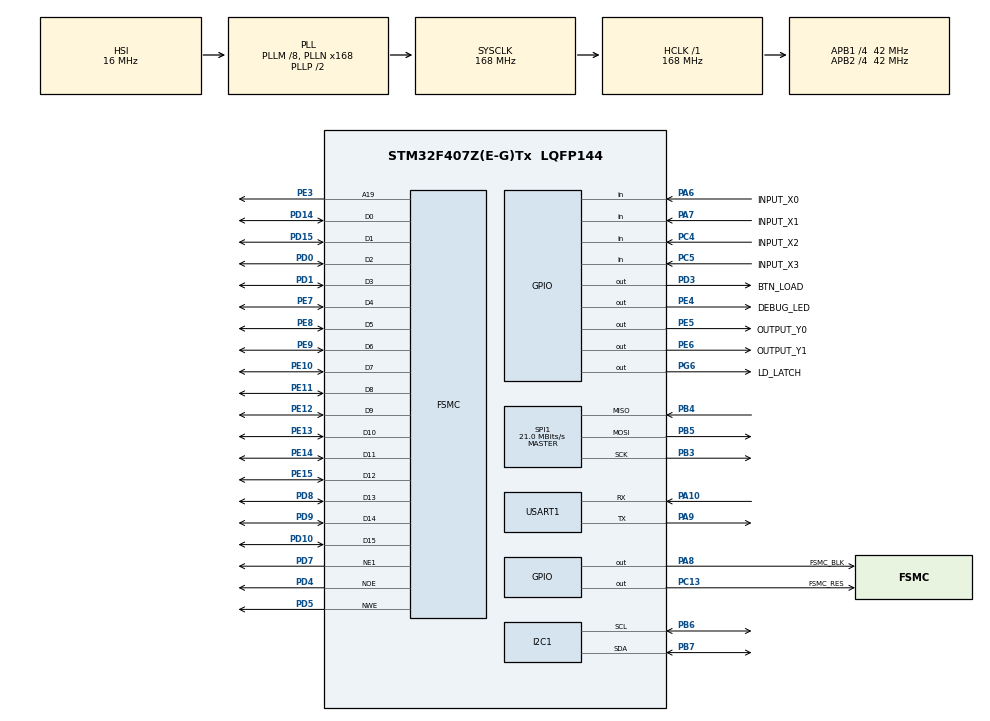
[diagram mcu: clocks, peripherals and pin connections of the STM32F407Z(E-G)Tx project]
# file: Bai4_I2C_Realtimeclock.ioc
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FSMC.AddressSetupTime1=0xf
FSMC.BusTurnAroundDuration1=0
FSMC.DataSetupTime1=60
FSMC.ExtendedAddressSetupTime1=8
FSMC.ExtendedBusTurnAroundDuration1=0
FSMC.ExtendedDataSetupTime1=9
FSMC.ExtendedMode1=FSMC_EXTENDED_MODE_ENABLE
I2C1.I2C_Mode=I2C_Standard
Mcu.Family=STM32F4
Mcu.Name=STM32F407Z(E-G)Tx
Mcu.Package=LQFP144
NVIC.PriorityGroup=NVIC_PRIORITYGROUP_4
NVIC.TIM2_IRQn=true\:0\:0\:false\:false\:true\:true\:true\:true
NVIC.USART1_IRQn=true\:0\:0\:false\:false\:true\:true\:true\:true
PA10.Mode=Asynchronous
PA10.Signal=USART1_RX
PA13.Mode=Serial_Wire
PA13.Signal=SYS_JTMS-SWDIO
PA14.Mode=Serial_Wire
PA14.Signal=SYS_JTCK-SWCLK
PA6.GPIO_Label=INPUT_X0
PA6.Signal=GPIO_Input
PA7.GPIO_Label=INPUT_X1
PA7.Signal=GPIO_Input
PA8.GPIO_Label=FSMC_BLK
PA8.Signal=GPIO_Output
PA9.Mode=Asynchronous
PA9.Signal=USART1_TX
PB3.Mode=Full_Duplex_Master
PB3.Signal=SPI1_SCK
PB4.Mode=Full_Duplex_Master
PB4.Signal=SPI1_MISO
PB5.Mode=Full_Duplex_Master
PB5.Signal=SPI1_MOSI
PB6.Mode=I2C
PB6.Signal=I2C1_SCL
PB7.Mode=I2C
PB7.Signal=I2C1_SDA
PC13-ANTI_TAMP.GPIO_Label=FSMC_RES
PC13-ANTI_TAMP.Signal=GPIO_Output
PC4.GPIO_Label=INPUT_X2
PC4.Signal=GPIO_Input
PC5.GPIO_Label=INPUT_X3
PC5.Signal=GPIO_Input
PD0.Signal=FSMC_D2_DA2
PD1.Signal=FSMC_D3_DA3
PD10.Signal=FSMC_D15_DA15
PD14.Signal=FSMC_D0_DA0
PD15.Signal=FSMC_D1_DA1
PD3.GPIO_Label=BTN_LOAD
PD3.Signal=GPIO_Output
PD4.Signal=FSMC_NOE
PD5.Signal=FSMC_NWE
PD7.Mode=NorPsramChipSelect1_1
PD7.Signal=FSMC_NE1
PD8.Signal=FSMC_D13_DA13
PD9.Signal=FSMC_D14_DA14
PE10.Signal=FSMC_D7_DA7
PE11.Signal=FSMC_D8_DA8
PE12.Signal=FSMC_D9_DA9
PE13.Signal=FSMC_D10_DA10
PE14.Signal=FSMC_D11_DA11
PE15.Signal=FSMC_D12_DA12
PE3.Signal=FSMC_A19
PE4.GPIO_Label=DEBUG_LED
PE4.Signal=GPIO_Output
PE5.GPIO_Label=OUTPUT_Y0
PE5.Signal=GPIO_Output
PE6.GPIO_Label=OUTPUT_Y1
PE6.Signal=GPIO_Output
PE7.Signal=FSMC_D4_DA4
PE8.Signal=FSMC_D5_DA5
PE9.Signal=FSMC_D6_DA6
PG6.GPIO_Label=LD_LATCH
PG6.Signal=GPIO_Output
PH0-OSC_IN.Mode=HSE-External-Oscillator
PH0-OSC_IN.Signal=RCC_OSC_IN
PH1-OSC_OUT.Mode=HSE-External-Oscillator
PH1-OSC_OUT.Signal=RCC_OSC_OUT
ProjectManager.HeapSize=0x200
ProjectManager.StackSize=0x400
ProjectManager.TargetToolchain=STM32CubeIDE
RCC.48MHZClocksFreq_Value=84000000
RCC.AHBFreq_Value=168000000
RCC.APB1CLKDivider=RCC_HCLK_DIV4
RCC.APB1Freq_Value=42000000
RCC.APB1TimFreq_Value=84000000
RCC.APB2CLKDivider=RCC_HCLK_DIV4
RCC.APB2Freq_Value=42000000
RCC.APB2TimFreq_Value=84000000
RCC.CortexFreq_Value=168000000
RCC.HCLKFreq_Value=168000000
RCC.HSE_VALUE=8000000
RCC.HSI_VALUE=16000000
RCC.LSE_VALUE=32768
RCC.PLLM=8
RCC.PLLN=168
RCC.SYSCLKFreq_VALUE=168000000
RCC.SYSCLKSource=RCC_SYSCLKSOURCE_PLLCLK
RCC.VCOOutputFreq_Value=336000000
SH.FSMC_A19.0=FSMC_A19,A19_1
SH.FSMC_D0_DA0.0=FSMC_D0,16b-d1
SH.FSMC_D10_DA10.0=FSMC_D10,16b-d1
SH.FSMC_D11_DA11.0=FSMC_D11,16b-d1
SH.FSMC_D12_DA12.0=FSMC_D12,16b-d1
SH.FSMC_D13_DA13.0=FSMC_D13,16b-d1
SH.FSMC_D14_DA14.0=FSMC_D14,16b-d1
SH.FSMC_D15_DA15.0=FSMC_D15,16b-d1
SH.FSMC_D1_DA1.0=FSMC_D1,16b-d1
SH.FSMC_D2_DA2.0=FSMC_D2,16b-d1
SH.FSMC_D3_DA3.0=FSMC_D3,16b-d1
SH.FSMC_D4_DA4.0=FSMC_D4,16b-d1
SH.FSMC_D5_DA5.0=FSMC_D5,16b-d1
SH.FSMC_D6_DA6.0=FSMC_D6,16b-d1
SH.FSMC_D7_DA7.0=FSMC_D7,16b-d1
SH.FSMC_D8_DA8.0=FSMC_D8,16b-d1
SH.FSMC_D9_DA9.0=FSMC_D9,16b-d1
SH.FSMC_NOE.0=FSMC_NOE,Lcd1
SH.FSMC_NWE.0=FSMC_NWE,Lcd1
SPI1.BaudRatePrescaler=SPI_BAUDRATEPRESCALER_2
SPI1.CalculateBaudRate=21.0 MBits/s
SPI1.Direction=SPI_DIRECTION_2LINES
SPI1.Mode=SPI_MODE_MASTER
SPI1.VirtualType=VM_MASTER
TIM2.Period=100-1
TIM2.Prescaler=840-1
USART1.VirtualMode=VM_ASYNC
VP_TIM2_VS_ClockSourceINT.Mode=Internal
board=custom

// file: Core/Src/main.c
/* USER CODE BEGIN Header */
/**
  ******************************************************************************
  * @file           : main.c
  * @brief          : Main program body
  ******************************************************************************
  * @attention
  *
  * <h2><center>&copy; Copyright (c) 2023 STMicroelectronics.
  * All rights reserved.</center></h2>
  *
  * This software component is licensed by ST under BSD 3-Clause license,
  * the "License"; You may not use this file except in compliance with the
  * License. You may obtain a copy of the License at:
  *                        opensource.org/licenses/BSD-3-Clause
  *
  ******************************************************************************
  */
/* USER CODE END Header */
#include "main.h"
#include "i2c.h"
#include "spi.h"
#include "tim.h"
//--c5--//
#include "usart.h"
#include "uart.h"
//--c5--//
#include "gpio.h"
#include "fsmc.h"

/* USER CODE BEGIN Includes */
#include "software_timer.h"
#include "led_7seg.h"
#include "button.h"
#include "lcd.h"
#include "picture.h"
#include "ds3231.h"
#include "fsm_clock.h"
/* USER CODE END Includes */

/* USER CODE BEGIN PV */
uint8_t count_led_debug = 0;
/* USER CODE END PV */

void SystemClock_Config(void);
/* USER CODE BEGIN PFP */
void system_init();
void test_LedDebug();
void displayTime();
void updateTime();
////-------c5-b1-------/
//void test_Uart () ;
////-------c5-b1-------//
/* USER CODE END PFP */

int main(void)
{

  /* MCU Configuration--------------------------------------------------------*/

  /* Reset of all peripherals, Initializes the Flash interface and the Systick. */
  HAL_Init();

  /* Configure the system clock */
  SystemClock_Config();

  /* Initialize all configured peripherals */
  MX_GPIO_Init();
  MX_TIM2_Init();
  MX_SPI1_Init();
  MX_FSMC_Init();
  MX_I2C1_Init();
  MX_USART1_UART_Init();
  /* USER CODE BEGIN 2 */
  system_init();
  /* USER CODE END 2 */

  /* Infinite loop */
  /* USER CODE BEGIN WHILE */
 lcd_Clear(BLACK);
 updateTime();
//extern ClockMode clock_mode;
  while (1)
  {
	  while(!flag_timer2);
	  flag_timer2 = 0;

	  button_Scan();
//	  ds3231_ReadTime();
//	  displayTime();

  //-------c5-b1-------//
//	  test_Uart () ;
	  process_uart_data();
  //-------c5-b1-------//

	  // bài 2 ,3
	  fsm_clock_run();
	  check_alarm();

////--------C5-bai3-------//
//// Cập nhật bộ đếm timeout
//	  if (clock_mode == MODE_UART_SET && uart_set_state > UART_SET_IDLE && uart_set_state < UART_SET_SAVING)
//	  {
//		  uart_timeout_counter++;
//	  }
////--------C5-bai3-------//

    /* USER CODE END WHILE */

  }
}

void SystemClock_Config(void)
{
  RCC_OscInitTypeDef RCC_OscInitStruct = {0};
  RCC_ClkInitTypeDef RCC_ClkInitStruct = {0};

  /** Configure the main internal regulator output voltage
  */
  __HAL_RCC_PWR_CLK_ENABLE();
  __HAL_PWR_VOLTAGESCALING_CONFIG(PWR_REGULATOR_VOLTAGE_SCALE1);

  /** Initializes the RCC Oscillators according to the specified parameters
  * in the RCC_OscInitTypeDef structure.
  */
  RCC_OscInitStruct.OscillatorType = RCC_OSCILLATORTYPE_HSI;
  RCC_OscInitStruct.HSIState = RCC_HSI_ON;
  RCC_OscInitStruct.HSICalibrationValue = RCC_HSICALIBRATION_DEFAULT;
  RCC_OscInitStruct.PLL.PLLState = RCC_PLL_ON;
  RCC_OscInitStruct.PLL.PLLSource = RCC_PLLSOURCE_HSI;
  RCC_OscInitStruct.PLL.PLLM = 8;
  RCC_OscInitStruct.PLL.PLLN = 168;
  RCC_OscInitStruct.PLL.PLLP = RCC_PLLP_DIV2;
  RCC_OscInitStruct.PLL.PLLQ = 4;
  if (HAL_RCC_OscConfig(&RCC_OscInitStruct) != HAL_OK)
  {
    Error_Handler();
  }

  /** Initializes the CPU, AHB and APB buses clocks
  */
  RCC_ClkInitStruct.ClockType = RCC_CLOCKTYPE_HCLK|RCC_CLOCKTYPE_SYSCLK
                              |RCC_CLOCKTYPE_PCLK1|RCC_CLOCKTYPE_PCLK2;
  RCC_ClkInitStruct.SYSCLKSource = RCC_SYSCLKSOURCE_PLLCLK;
  RCC_ClkInitStruct.AHBCLKDivider = RCC_SYSCLK_DIV1;
  RCC_ClkInitStruct.APB1CLKDivider = RCC_HCLK_DIV4;
  RCC_ClkInitStruct.APB2CLKDivider = RCC_HCLK_DIV4;

  if (HAL_RCC_ClockConfig(&RCC_ClkInitStruct, FLASH_LATENCY_5) != HAL_OK)
  {
    Error_Handler();
  }
}

/* USER CODE BEGIN 4 */
void system_init(){
	  HAL_GPIO_WritePin(OUTPUT_Y0_GPIO_Port, OUTPUT_Y0_Pin, 0);
	  HAL_GPIO_WritePin(OUTPUT_Y1_GPIO_Port, OUTPUT_Y1_Pin, 0);
	  HAL_GPIO_WritePin(DEBUG_LED_GPIO_Port, DEBUG_LED_Pin, 0);
	  timer_init();
	  led7_init();
	  button_init();
	  lcd_init();
	  ds3231_init();
	  fsm_clock_init();
	  setTimer2(50);

	  //-------c5-b1-------//
	  uart_init_rs232 () ;
}

void test_LedDebug(){
	count_led_debug = (count_led_debug + 1)%20;
	if(count_led_debug == 0){
		HAL_GPIO_TogglePin(DEBUG_LED_GPIO_Port, DEBUG_LED_Pin);
	}
}

//void test_Uart() {
//	if( button_count [12] == 1) {
//		uart_Rs232SendNum ( ds3231_hours ) ;
//		uart_Rs232SendString (":") ;
//		uart_Rs232SendNum ( ds3231_min ) ;
//		uart_Rs232SendString (":") ;
//		uart_Rs232SendNum ( ds3231_sec ) ;
//		uart_Rs232SendString ("\n") ;
//		}
// 	 }

void test_7seg(){
	led7_SetDigit(0, 0, 0);
	led7_SetDigit(5, 1, 0);
	led7_SetDigit(4, 2, 0);
	led7_SetDigit(7, 3, 0);
}
void test_button(){
	for(int i = 0; i < 16; i++){
		if(button_count[i] == 1){
			led7_SetDigit(i/10, 2, 0);
			led7_SetDigit(i%10, 3, 0);
		}
	}
}

void updateTime(){
	ds3231_Write(ADDRESS_YEAR, 23);
	ds3231_Write(ADDRESS_MONTH, 10);
	ds3231_Write(ADDRESS_DATE, 20);
	ds3231_Write(ADDRESS_DAY, 6);
	ds3231_Write(ADDRESS_HOUR, 20);
	ds3231_Write(ADDRESS_MIN, 11);
	ds3231_Write(ADDRESS_SEC, 23);
}

uint8_t isButtonUp()
{
    if (button_count[3] == 1)
        return 1;
    else
        return 0;
}
uint8_t isButtonDown()
{
    if (button_count[7] == 1)
        return 1;
    else
        return 0;
}
void displayTime(){
	lcd_ShowIntNum(70, 100, ds3231_hours, 2, GREEN, BLACK, 24);
	lcd_ShowIntNum(110, 100, ds3231_min, 2, GREEN, BLACK, 24);
	lcd_ShowIntNum(150, 100, ds3231_sec, 2, GREEN, BLACK, 24);
	lcd_ShowIntNum(20, 130, ds3231_day, 2, YELLOW, BLACK, 24);
	lcd_ShowIntNum(70, 130, ds3231_date, 2, YELLOW, BLACK, 24);
	lcd_ShowIntNum(110, 130, ds3231_month, 2, YELLOW, BLACK, 24);
	lcd_ShowIntNum(150, 130, ds3231_year, 2, YELLOW, BLACK, 24);
}
/* USER CODE END 4 */

void Error_Handler(void)
{
  __disable_irq();
  while (1)
  {
  }
}
